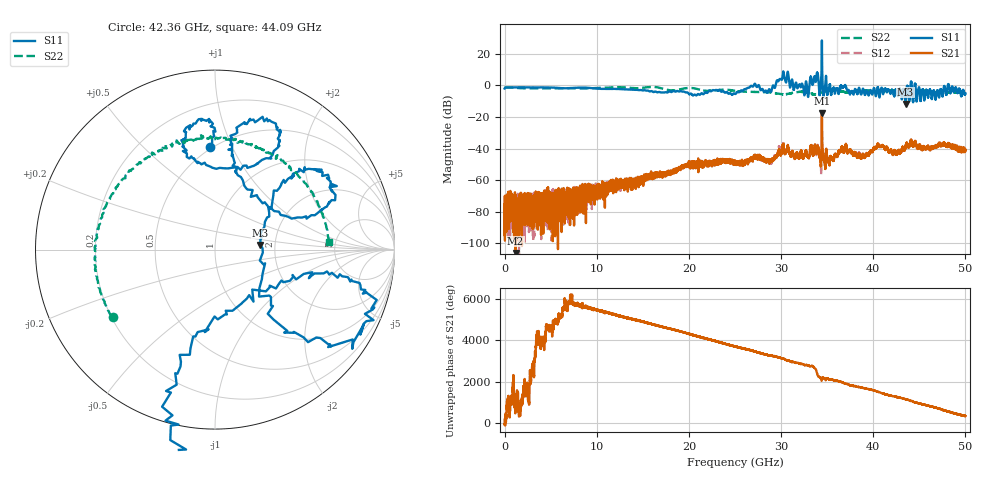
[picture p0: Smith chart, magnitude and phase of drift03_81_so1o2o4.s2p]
!Created with skrf (http://scikit-rf.org).
# Hz S RI R 50.0
!freq ReS11 ImS11 ReS21 ImS21 ReS12 ImS12 ReS22 ImS22
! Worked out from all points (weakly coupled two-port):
!   10000 points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, 5.3 MHz to 50 GHz, reference 50 ohm
!   highest |S21| = -17.82 dB at 34.43 GHz (marker M1); lowest = -106.0 dB at 1.19 GHz (marker M2)
!   lowest |S11| = -11.9 dB at 43.52 GHz (marker M3), VSWR 1.68, Z = 83.7 + j4.53 ohm
!   |S11| at or under -10 dB: 43.48581 GHz to 43.55197 GHz (66.16 MHz wide, 0.152 % of centre); 43.89901 GHz to 43.90117 GHz (2.152 MHz wide, 0.0049 % of centre); 44.70161 GHz to 44.71147 GHz (9.857 MHz wide, 0.022 % of centre) (the widest 3 of 6)
!   |S22| runs from -5.8 to -1.1 dB; largest |S21 - S12| = 0.033
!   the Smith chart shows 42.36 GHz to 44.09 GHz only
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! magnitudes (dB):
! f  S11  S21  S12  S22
! 5.3 MHz  -2.1  -75.8  -76.3  -1.3
! 1.19 GHz  -1.4  -106.0  -85.8  -1.6
! 8.34 GHz  -1.5  -64.2  -70.7  -2.1
! 16.67 GHz  -4.4  -56.4  -57.3  -1.5
! 20.43 GHz  -6.5  -50.1  -50.9  -1.8
! 25.01 GHz  -5.5  -49.2  -48.9  -3.5
! 27.02 GHz  -0.3  -45.8  -45.6  -4.2
! 28.72 GHz  -2.5  -47.3  -48.0  -4.5
! 30.14 GHz  4.4  -40.5  -40.6  -5.7
! 32.74 GHz  2.0  -41.7  -42.2  -4.6
! 33.34 GHz  2.6  -39.9  -40.4  -5.5
! 33.82 GHz  4.0  -41.7  -41.7  -5.7
! 34.43 GHz  28.3  -17.8  -18.9  -4.6
! 35.35 GHz  -1.3  -45.6  -45.1  -3.3
! 36.85 GHz  -0.7  -42.1  -41.7  -4.3
! 38.87 GHz  -2.3  -44.2  -43.8  -3.2
! 40.6 GHz  -4.4  -38.4  -38.3  -4.0
! 41.67 GHz  -2.9  -41.9  -42.2  -3.3
! 43.52 GHz  -11.9  -38.9  -39.0  -4.1
! 46.94 GHz  -3.6  -37.9  -38.7  -4.7
! 48.33 GHz  -4.4  -38.3  -38.4  -4.6
! 50 GHz  -5.2  -41.0  -40.2  -4.5
